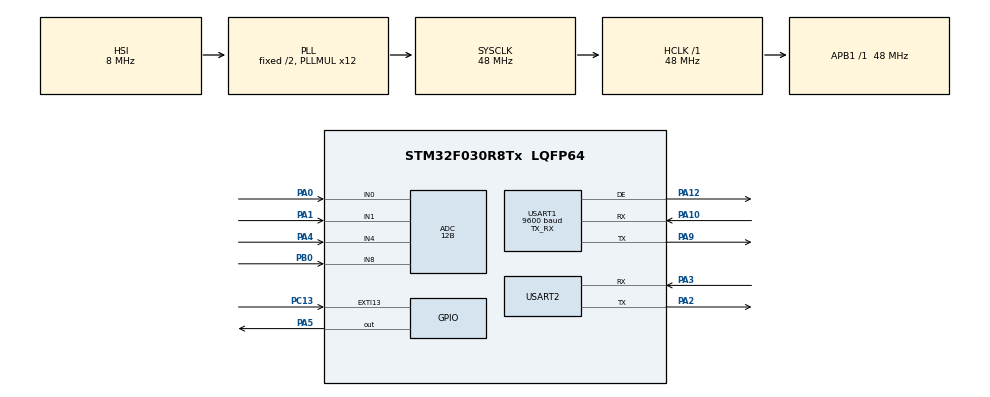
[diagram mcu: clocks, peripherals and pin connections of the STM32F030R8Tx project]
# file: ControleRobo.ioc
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ADC.ClockPrescaler=ADC_CLOCK_ASYNC_DIV1
ADC.ContinuousConvMode=DISABLE
ADC.DMAContinuousRequests=DISABLE
ADC.DataAlign=ADC_DATAALIGN_RIGHT
ADC.DiscontinuousConvMode=DISABLE
ADC.EOCSelection=ADC_EOC_SINGLE_CONV
ADC.EnableAnalogWatchDog=false
ADC.ExternalTrigConv=ADC_SOFTWARE_START
ADC.ExternalTrigConvEdge=ADC_EXTERNALTRIGCONVEDGE_NONE
ADC.LowPowerAutoPowerOff=DISABLE
ADC.LowPowerAutoWait=DISABLE
ADC.Overrun=ADC_OVR_DATA_PRESERVED
ADC.Resolution=ADC_RESOLUTION_12B
ADC.SamplingTime=ADC_SAMPLETIME_1CYCLE_5
ADC.ScanConvMode=ADC_SCAN_DIRECTION_FORWARD
Mcu.Family=STM32F0
Mcu.Name=STM32F030R8Tx
Mcu.Package=LQFP64
PA0.GPIO_Mode=GPIO_MODE_ANALOG
PA0.GPIO_PuPd=GPIO_NOPULL
PA0.Mode=IN0
PA0.Signal=ADC_IN0
PA1.GPIO_Mode=GPIO_MODE_ANALOG
PA1.GPIO_PuPd=GPIO_NOPULL
PA1.Mode=IN1
PA1.Signal=ADC_IN1
PA10.Mode=Asynchronous
PA10.Signal=USART1_RX
PA12.Mode=Hardware Flow Control (RS485)
PA12.Signal=USART1_DE
PA13.Mode=Serial_Wire
PA13.Signal=SYS_SWDIO
PA14.Mode=Serial_Wire
PA14.Signal=SYS_SWCLK
PA2.GPIO_Mode=GPIO_MODE_AF_PP
PA2.GPIO_ModeDefaultPP=GPIO_MODE_AF_PP
PA2.GPIO_PuPd=GPIO_NOPULL
PA2.GPIO_Speed=GPIO_SPEED_FREQ_HIGH
PA2.Mode=Asynchronous
PA2.Signal=USART2_TX
PA3.GPIO_Mode=GPIO_MODE_AF_PP
PA3.GPIO_ModeDefaultPP=GPIO_MODE_AF_PP
PA3.GPIO_PuPd=GPIO_NOPULL
PA3.GPIO_Speed=GPIO_SPEED_FREQ_HIGH
PA3.Mode=Asynchronous
PA3.Signal=USART2_RX
PA4.GPIO_Mode=GPIO_MODE_ANALOG
PA4.GPIO_PuPd=GPIO_NOPULL
PA4.Mode=IN4
PA4.Signal=ADC_IN4
PA5.GPIO_Mode=GPIO_MODE_OUTPUT_PP
PA5.GPIO_ModeDefaultOutputPP=GPIO_MODE_OUTPUT_PP
PA5.GPIO_PuPd=GPIO_NOPULL
PA5.GPIO_Speed=GPIO_SPEED_FREQ_LOW
PA5.PinState=GPIO_PIN_RESET
PA5.Signal=GPIO_Output
PA9.Mode=Asynchronous
PA9.Signal=USART1_TX
PB0.GPIO_Mode=GPIO_MODE_ANALOG
PB0.GPIO_PuPd=GPIO_NOPULL
PB0.Mode=IN8
PB0.Signal=ADC_IN8
PC13.GPIO_ModeDefaultEXTI=GPIO_MODE_IT_RISING
PC13.GPIO_PuPd=GPIO_NOPULL
PC13.Signal=GPXTI13
PC14-OSC32_IN.Mode=LSE-External-Oscillator
PC14-OSC32_IN.Signal=RCC_OSC32_IN
PC15-OSC32_OUT.Mode=LSE-External-Oscillator
PC15-OSC32_OUT.Signal=RCC_OSC32_OUT
PF0-OSC_IN.Mode=HSE-External-Clock-Source
PF0-OSC_IN.Signal=RCC_OSC_IN
PF1-OSC_OUT.Signal=RCC_OSC_OUT
ProjectManager.HeapSize=0x200
ProjectManager.StackSize=0x400
ProjectManager.TargetToolchain=MDK-ARM V5
RCC.AHBFreq_Value=48000000
RCC.APB1Freq_Value=48000000
RCC.APB1TimFreq_Value=48000000
RCC.HCLKFreq_Value=48000000
RCC.PLLMUL=RCC_PLL_MUL12
RCC.SYSCLKFreq_VALUE=48000000
RCC.SYSCLKSource=RCC_SYSCLKSOURCE_PLLCLK
USART1.BaudRate=9600
USART1.Mode=MODE_TX_RX
USART1.VirtualMode-Asynchronous=VM_ASYNC
USART1.VirtualMode-Hardware\ Flow\ Control\ (RS485)=VM_ASYNC
USART2.VirtualMode-Asynchronous=VM_ASYNC
board=NUCLEO-F030R8

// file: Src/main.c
/**
  ******************************************************************************
  * @file           : main.c
  * @brief          : Main program body
  ******************************************************************************
  ** This notice applies to any and all portions of this file
  * that are not between comment pairs USER CODE BEGIN and
  * USER CODE END. Other portions of this file, whether
  * inserted by the user or by software development tools
  * are owned by their respective copyright owners.
  *
  * COPYRIGHT(c) 2018 STMicroelectronics
  *
  * Redistribution and use in source and binary forms, with or without modification,
  * are permitted provided that the following conditions are met:
  *   1. Redistributions of source code must retain the above copyright notice,
  *      this list of conditions and the following disclaimer.
  *   2. Redistributions in binary form must reproduce the above copyright notice,
  *      this list of conditions and the following disclaimer in the documentation
  *      and/or other materials provided with the distribution.
  *   3. Neither the name of STMicroelectronics nor the names of its contributors
  *      may be used to endorse or promote products derived from this software
  *      without specific prior written permission.
  *
  * THIS SOFTWARE IS PROVIDED BY THE COPYRIGHT HOLDERS AND CONTRIBUTORS "AS IS"
  * AND ANY EXPRESS OR IMPLIED WARRANTIES, INCLUDING, BUT NOT LIMITED TO, THE
  * IMPLIED WARRANTIES OF MERCHANTABILITY AND FITNESS FOR A PARTICULAR PURPOSE ARE
  * DISCLAIMED. IN NO EVENT SHALL THE COPYRIGHT HOLDER OR CONTRIBUTORS BE LIABLE
  * FOR ANY DIRECT, INDIRECT, INCIDENTAL, SPECIAL, EXEMPLARY, OR CONSEQUENTIAL
  * DAMAGES (INCLUDING, BUT NOT LIMITED TO, PROCUREMENT OF SUBSTITUTE GOODS OR
  * SERVICES; LOSS OF USE, DATA, OR PROFITS; OR BUSINESS INTERRUPTION) HOWEVER
  * CAUSED AND ON ANY THEORY OF LIABILITY, WHETHER IN CONTRACT, STRICT LIABILITY,
  * OR TORT (INCLUDING NEGLIGENCE OR OTHERWISE) ARISING IN ANY WAY OUT OF THE USE
  * OF THIS SOFTWARE, EVEN IF ADVISED OF THE POSSIBILITY OF SUCH DAMAGE.
  *
  ******************************************************************************
  */
#include "main.h"
#include "stm32f0xx_hal.h"

/* USER CODE BEGIN Includes */
#include <stdio.h>
#include <string.h>
/* USER CODE END Includes */

ADC_HandleTypeDef hadc;

UART_HandleTypeDef huart1;
UART_HandleTypeDef huart2;

/* USER CODE BEGIN PV */
/* Private variables ---------------------------------------------------------*/

/* USER CODE END PV */

void SystemClock_Config(void);
static void MX_GPIO_Init(void);
static void MX_ADC_Init(void);
static void MX_USART1_UART_Init(void);
static void MX_USART2_UART_Init(void);

/* USER CODE BEGIN PFP */
/* Private function prototypes -----------------------------------------------*/
void udelay(void){
	int tempo=10;
	while (tempo)tempo--;

}
void delayus(int tempo){
	while (tempo){udelay();tempo--;}
}
int fputc(int ch, FILE *f){
		HAL_UART_Transmit(&huart1,(uint8_t*)&ch,1,10);
		return ch;
}

void base(ADC_ChannelConfTypeDef adc_s_config){ //Fun��o do Joystick que tem botao ligaod
		int estado;
		uint32_t X, Y, c;
		char valor[6];
		char str[12];
		unsigned char ack;
		// Canal 0
		strcpy(valor,"B"); //B base
		adc_s_config.Rank = ADC_RANK_CHANNEL_NUMBER;
		adc_s_config.Channel = ADC_CHANNEL_0;
		while(HAL_ADC_Init(&hadc) != HAL_OK) HAL_Delay(1);
		while(HAL_ADC_ConfigChannel(&hadc, &adc_s_config) != HAL_OK) HAL_Delay(1);
		HAL_ADC_Start(&hadc);
		HAL_ADC_PollForConversion(&hadc, 10);
		Y = HAL_ADC_GetValue(&hadc);
		HAL_ADC_Stop(&hadc);
		HAL_ADC_DeInit(&hadc);

		sprintf(str,"%d",Y);
		printf("%s",valor); //Manda quem �
		HAL_UART_Receive(&huart1, (uint8_t*)&ack, 1, 10);
		if(ack == '1'){
				printf("%s",str);
		}
}
void garra(ADC_ChannelConfTypeDef adc_s_config){
		uint32_t X, Y;
		char valor[6];
		char str[12];
		unsigned char ack;
		// Canal 1
		strcpy(valor,"G"); //G1 garra 1
		adc_s_config.Rank = ADC_RANK_CHANNEL_NUMBER;
		adc_s_config.Channel = ADC_CHANNEL_1;
		while(HAL_ADC_Init(&hadc) != HAL_OK) HAL_Delay(1);
		while(HAL_ADC_ConfigChannel(&hadc, &adc_s_config) != HAL_OK) HAL_Delay(1);
		HAL_ADC_Start(&hadc);
		HAL_ADC_PollForConversion(&hadc, 10);
		X = HAL_ADC_GetValue(&hadc);
		HAL_ADC_Stop(&hadc);
		HAL_ADC_DeInit(&hadc);

		sprintf(str,"%d",Y);
		printf("%s",valor); //Manda quem �
		HAL_UART_Receive(&huart1, (uint8_t*)&ack, 1, 10);
		if(ack == '1'){
				printf("%s",str);
		}
}
void distancia(ADC_ChannelConfTypeDef adc_s_config){
		uint32_t X, Y;
		char valor[6];
		char str[12];
		char unsigned ack;
		// Canal 2
		strcpy(valor,"L"); //L distancia
		adc_s_config.Rank = ADC_RANK_CHANNEL_NUMBER;
		adc_s_config.Channel = ADC_CHANNEL_2;
		while(HAL_ADC_Init(&hadc) != HAL_OK) HAL_Delay(1);
		while(HAL_ADC_ConfigChannel(&hadc, &adc_s_config) != HAL_OK) HAL_Delay(1);
		HAL_ADC_Start(&hadc);
		HAL_ADC_PollForConversion(&hadc, 10);
		Y = HAL_ADC_GetValue(&hadc);
		HAL_ADC_Stop(&hadc);
		HAL_ADC_DeInit(&hadc);

		sprintf(str,"%d",Y);
		printf("%s",valor); //Manda quem �
		HAL_UART_Receive(&huart1, (uint8_t*)&ack, 1, 10);
		if(ack == '2'){
				printf("%s",str);
		}

}
void altura(ADC_ChannelConfTypeDef adc_s_config){
		uint32_t X, Y;
		char valor[6];
		char str[12];
	  unsigned char ack;
		// Canal 3
		strcpy(valor,"A"); //A altura
		adc_s_config.Rank = ADC_RANK_CHANNEL_NUMBER;
		adc_s_config.Channel = ADC_CHANNEL_3;
		while(HAL_ADC_Init(&hadc) != HAL_OK) HAL_Delay(1);
		while(HAL_ADC_ConfigChannel(&hadc, &adc_s_config) != HAL_OK) HAL_Delay(1);
		HAL_ADC_Start(&hadc);
		HAL_ADC_PollForConversion(&hadc, 10);
		X = HAL_ADC_GetValue(&hadc);
		HAL_ADC_Stop(&hadc);
		HAL_ADC_DeInit(&hadc);

		sprintf(str,"%d",Y);
		printf("%s",valor); //Manda quem �
		HAL_UART_Receive(&huart1, (uint8_t*)&ack, 1, 10);
		if(ack == '3'){
				printf("%s",str);
		}
}
void roda_esquerda(ADC_ChannelConfTypeDef adc_s_config){
		uint32_t X, Y;
		char valor[6];
		char str[12];
		unsigned char ack;
		// Canal 0
		strcpy(valor,"E"); // Rodas da esquerda
		adc_s_config.Rank = ADC_RANK_CHANNEL_NUMBER;
		adc_s_config.Channel = ADC_CHANNEL_0;
		while(HAL_ADC_Init(&hadc) != HAL_OK) HAL_Delay(1);
		while(HAL_ADC_ConfigChannel(&hadc, &adc_s_config) != HAL_OK) HAL_Delay(1);
		HAL_ADC_Start(&hadc);
		HAL_ADC_PollForConversion(&hadc, 10);
		Y = HAL_ADC_GetValue(&hadc);
		HAL_ADC_Stop(&hadc);
		HAL_ADC_DeInit(&hadc);

		sprintf(str,"%d",Y); //Converte int para string
		printf("%s",valor); //Manda quem �

		do
		{
				HAL_UART_Receive(&huart1,(uint8_t*)&ack, 1, 10);
		}while (ack != '5'); //aguarda o ack

		printf("%s",str); // Manda a string de numeros

}
void roda_direita(ADC_ChannelConfTypeDef adc_s_config){
		uint32_t X, Y;
		char valor[6];
		char str[12];
		unsigned char ack;
		// Canal 2
		strcpy(valor,"D"); //D Rodas direita
		adc_s_config.Rank = ADC_RANK_CHANNEL_NUMBER;
		adc_s_config.Channel = ADC_CHANNEL_2;
		while(HAL_ADC_Init(&hadc) != HAL_OK) HAL_Delay(1);
		while(HAL_ADC_ConfigChannel(&hadc, &adc_s_config) != HAL_OK) HAL_Delay(1);
		HAL_ADC_Start(&hadc);
		HAL_ADC_PollForConversion(&hadc, 10);
		Y = HAL_ADC_GetValue(&hadc);
		HAL_ADC_Stop(&hadc);
		HAL_ADC_DeInit(&hadc);

		sprintf(str,"%d",Y); //Converte int para string
		printf("%s",valor); //Manda quem �

		do
		{
				HAL_UART_Receive(&huart1,(uint8_t*)&ack, 1, 10);
		}while (ack != '5'); //aguarda o ack

		printf("%s",str); // Manda a string de numeros

}
int le_botao() {
		int botao = 0;
		if(GPIOB->IDR&(1 << 5)) botao = 1;
		return botao;
}
int aguarda_botao(){
		int botao = 0; //NADA
		while(botao == 0)botao = le_botao();
		while(le_botao() != 0) HAL_Delay(1);
		return botao;
}

/* USER CODE END PFP */

int main(void)
{
  /* USER CODE BEGIN 1 */
	int estado;

  /* USER CODE END 1 */

  /* MCU Configuration----------------------------------------------------------*/

  /* Reset of all peripherals, Initializes the Flash interface and the Systick. */
  HAL_Init();

  /* Configure the system clock */
  SystemClock_Config();

  /* Initialize all configured peripherals */
  MX_GPIO_Init();
  MX_ADC_Init();
  MX_USART1_UART_Init();
  MX_USART2_UART_Init();
  /* USER CODE BEGIN 2 */
	int botao = 0,i;
	char buf = 'E';
	ADC_ChannelConfTypeDef adc_s_config;;
  HAL_ADC_Init(&hadc);

  /* USER CODE END 2 */

  /* Infinite loop */
  /* USER CODE BEGIN WHILE */
  while (1)
  {
		botao = aguarda_botao();
  /* USER CODE END WHILE */
    switch (estado) {
      case 0:
        base(adc_s_config);
        break;
      case 1:
        garra(adc_s_config);
        break;
      case 2:
        distancia(adc_s_config);
        break;
      case 3:
        altura(adc_s_config);
        break;
      case 4:
        roda_esquerda(adc_s_config);
        break;
      case 5:
        roda_direita(adc_s_config);
        break;
      default:
        estado = 0;
        break;
    }
  /* USER CODE BEGIN 3 */
    estado = (estado + 1) % 6;
    HAL_Delay(500);
  }
  /* USER CODE END 3 */

}

void SystemClock_Config(void)
{

  RCC_OscInitTypeDef RCC_OscInitStruct;
  RCC_ClkInitTypeDef RCC_ClkInitStruct;
  RCC_PeriphCLKInitTypeDef PeriphClkInit;

    /**Initializes the CPU, AHB and APB busses clocks
    */
  RCC_OscInitStruct.OscillatorType = RCC_OSCILLATORTYPE_HSI|RCC_OSCILLATORTYPE_HSI14;
  RCC_OscInitStruct.HSIState = RCC_HSI_ON;
  RCC_OscInitStruct.HSI14State = RCC_HSI14_ON;
  RCC_OscInitStruct.HSICalibrationValue = 16;
  RCC_OscInitStruct.HSI14CalibrationValue = 16;
  RCC_OscInitStruct.PLL.PLLState = RCC_PLL_ON;
  RCC_OscInitStruct.PLL.PLLSource = RCC_PLLSOURCE_HSI;
  RCC_OscInitStruct.PLL.PLLMUL = RCC_PLL_MUL12;
  RCC_OscInitStruct.PLL.PREDIV = RCC_PREDIV_DIV1;
  if (HAL_RCC_OscConfig(&RCC_OscInitStruct) != HAL_OK)
  {
    _Error_Handler(__FILE__, __LINE__);
  }

    /**Initializes the CPU, AHB and APB busses clocks
    */
  RCC_ClkInitStruct.ClockType = RCC_CLOCKTYPE_HCLK|RCC_CLOCKTYPE_SYSCLK
                              |RCC_CLOCKTYPE_PCLK1;
  RCC_ClkInitStruct.SYSCLKSource = RCC_SYSCLKSOURCE_PLLCLK;
  RCC_ClkInitStruct.AHBCLKDivider = RCC_SYSCLK_DIV1;
  RCC_ClkInitStruct.APB1CLKDivider = RCC_HCLK_DIV1;

  if (HAL_RCC_ClockConfig(&RCC_ClkInitStruct, FLASH_LATENCY_1) != HAL_OK)
  {
    _Error_Handler(__FILE__, __LINE__);
  }

  PeriphClkInit.PeriphClockSelection = RCC_PERIPHCLK_USART1;
  PeriphClkInit.Usart1ClockSelection = RCC_USART1CLKSOURCE_PCLK1;
  if (HAL_RCCEx_PeriphCLKConfig(&PeriphClkInit) != HAL_OK)
  {
    _Error_Handler(__FILE__, __LINE__);
  }

    /**Configure the Systick interrupt time
    */
  HAL_SYSTICK_Config(HAL_RCC_GetHCLKFreq()/1000);

    /**Configure the Systick
    */
  HAL_SYSTICK_CLKSourceConfig(SYSTICK_CLKSOURCE_HCLK);

  /* SysTick_IRQn interrupt configuration */
  HAL_NVIC_SetPriority(SysTick_IRQn, 0, 0);
}

/* ADC init function */
static void MX_ADC_Init(void)
{

  ADC_ChannelConfTypeDef sConfig;

    /**Configure the global features of the ADC (Clock, Resolution, Data Alignment and number of conversion)
    */
  hadc.Instance = ADC1;
  hadc.Init.ClockPrescaler = ADC_CLOCK_ASYNC_DIV1;
  hadc.Init.Resolution = ADC_RESOLUTION_12B;
  hadc.Init.DataAlign = ADC_DATAALIGN_RIGHT;
  hadc.Init.ScanConvMode = ADC_SCAN_DIRECTION_FORWARD;
  hadc.Init.EOCSelection = ADC_EOC_SINGLE_CONV;
  hadc.Init.LowPowerAutoWait = DISABLE;
  hadc.Init.LowPowerAutoPowerOff = DISABLE;
  hadc.Init.ContinuousConvMode = DISABLE;
  hadc.Init.DiscontinuousConvMode = DISABLE;
  hadc.Init.ExternalTrigConv = ADC_SOFTWARE_START;
  hadc.Init.ExternalTrigConvEdge = ADC_EXTERNALTRIGCONVEDGE_NONE;
  hadc.Init.DMAContinuousRequests = DISABLE;
  hadc.Init.Overrun = ADC_OVR_DATA_PRESERVED;
  if (HAL_ADC_Init(&hadc) != HAL_OK)
  {
    _Error_Handler(__FILE__, __LINE__);
  }

    /**Configure for the selected ADC regular channel to be converted.
    */
  sConfig.Channel = ADC_CHANNEL_0;
  sConfig.Rank = ADC_RANK_CHANNEL_NUMBER;
  sConfig.SamplingTime = ADC_SAMPLETIME_1CYCLE_5;
  if (HAL_ADC_ConfigChannel(&hadc, &sConfig) != HAL_OK)
  {
    _Error_Handler(__FILE__, __LINE__);
  }

    /**Configure for the selected ADC regular channel to be converted.
    */
  sConfig.Channel = ADC_CHANNEL_1;
  if (HAL_ADC_ConfigChannel(&hadc, &sConfig) != HAL_OK)
  {
    _Error_Handler(__FILE__, __LINE__);
  }

    /**Configure for the selected ADC regular channel to be converted.
    */
  sConfig.Channel = ADC_CHANNEL_4;
  if (HAL_ADC_ConfigChannel(&hadc, &sConfig) != HAL_OK)
  {
    _Error_Handler(__FILE__, __LINE__);
  }

    /**Configure for the selected ADC regular channel to be converted.
    */
  sConfig.Channel = ADC_CHANNEL_8;
  if (HAL_ADC_ConfigChannel(&hadc, &sConfig) != HAL_OK)
  {
    _Error_Handler(__FILE__, __LINE__);
  }

}

/* USART1 init function */
static void MX_USART1_UART_Init(void)
{

  huart1.Instance = USART1;
  huart1.Init.BaudRate = 9600;
  huart1.Init.WordLength = UART_WORDLENGTH_8B;
  huart1.Init.StopBits = UART_STOPBITS_1;
  huart1.Init.Parity = UART_PARITY_NONE;
  huart1.Init.Mode = UART_MODE_TX_RX;
  huart1.Init.HwFlowCtl = UART_HWCONTROL_NONE;
  huart1.Init.OverSampling = UART_OVERSAMPLING_16;
  huart1.Init.OneBitSampling = UART_ONE_BIT_SAMPLE_DISABLE;
  huart1.AdvancedInit.AdvFeatureInit = UART_ADVFEATURE_NO_INIT;
  if (HAL_RS485Ex_Init(&huart1, UART_DE_POLARITY_HIGH, 0, 0) != HAL_OK)
  {
    _Error_Handler(__FILE__, __LINE__);
  }

}

/* USART2 init function */
static void MX_USART2_UART_Init(void)
{

  huart2.Instance = USART2;
  huart2.Init.BaudRate = 38400;
  huart2.Init.WordLength = UART_WORDLENGTH_8B;
  huart2.Init.StopBits = UART_STOPBITS_1;
  huart2.Init.Parity = UART_PARITY_NONE;
  huart2.Init.Mode = UART_MODE_TX_RX;
  huart2.Init.HwFlowCtl = UART_HWCONTROL_NONE;
  huart2.Init.OverSampling = UART_OVERSAMPLING_16;
  huart2.Init.OneBitSampling = UART_ONE_BIT_SAMPLE_DISABLE;
  huart2.AdvancedInit.AdvFeatureInit = UART_ADVFEATURE_NO_INIT;
  if (HAL_UART_Init(&huart2) != HAL_OK)
  {
    _Error_Handler(__FILE__, __LINE__);
  }

}

/** Configure pins as
        * Analog
        * Input
        * Output
        * EVENT_OUT
        * EXTI
*/
static void MX_GPIO_Init(void)
{

  GPIO_InitTypeDef GPIO_InitStruct;

  /* GPIO Ports Clock Enable */
  __HAL_RCC_GPIOC_CLK_ENABLE();
  __HAL_RCC_GPIOF_CLK_ENABLE();
  __HAL_RCC_GPIOA_CLK_ENABLE();
  __HAL_RCC_GPIOB_CLK_ENABLE();

  /*Configure GPIO pin Output Level */
  HAL_GPIO_WritePin(GPIOA, GPIO_PIN_5, GPIO_PIN_RESET);

  /*Configure GPIO pin : PC13 */
  GPIO_InitStruct.Pin = GPIO_PIN_13;
  GPIO_InitStruct.Mode = GPIO_MODE_IT_RISING;
  GPIO_InitStruct.Pull = GPIO_NOPULL;
  HAL_GPIO_Init(GPIOC, &GPIO_InitStruct);

  /*Configure GPIO pin : PA5 */
  GPIO_InitStruct.Pin = GPIO_PIN_5;
  GPIO_InitStruct.Mode = GPIO_MODE_OUTPUT_PP;
  GPIO_InitStruct.Pull = GPIO_NOPULL;
  GPIO_InitStruct.Speed = GPIO_SPEED_FREQ_LOW;
  HAL_GPIO_Init(GPIOA, &GPIO_InitStruct);

}

void _Error_Handler(char *file, int line)
{
  while(1)
  {
  }
}

/************************ (C) COPYRIGHT STMicroelectronics *****END OF FILE****/
